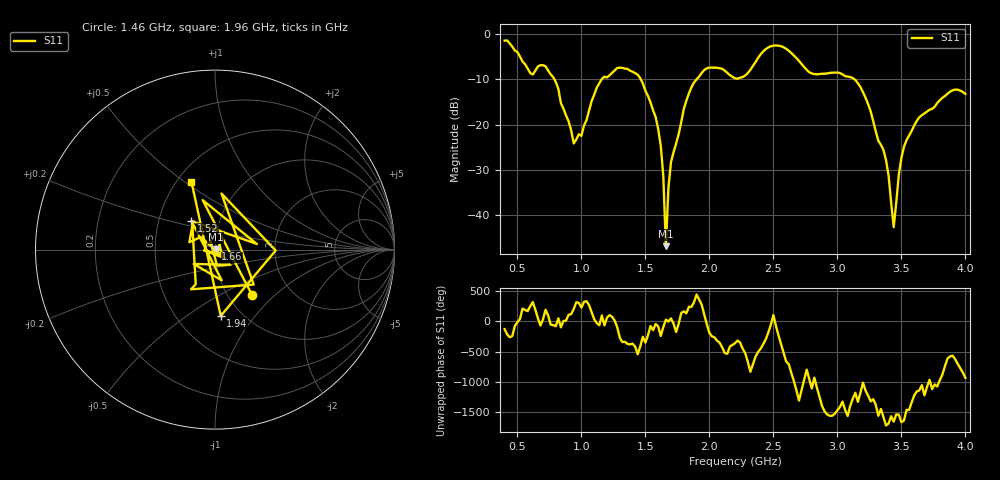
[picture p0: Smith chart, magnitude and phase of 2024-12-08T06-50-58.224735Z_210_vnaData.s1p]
!Created with skrf (http://scikit-rf.org).
# Hz S RI R 50.0
!freq ReS11 ImS11
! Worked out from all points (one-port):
!   181 points, 400 MHz to 4 GHz, reference 50 ohm
!   lowest |S11| = -46.8 dB at 1.66 GHz (marker M1), VSWR 1.01, Z = 50.4 + j0.215 ohm
!   |S11| at or under -10 dB: 788 MHz to 1.159 GHz (370.8 MHz wide, 38.1 % of centre); 1.464 GHz to 1.901 GHz (437.9 MHz wide, 26 % of centre); 3.132 GHz to end of sweep
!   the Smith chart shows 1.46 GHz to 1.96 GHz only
!   S11 on the Smith chart (normalised r, x): 1.46 GHz: 1.29, -0.72; 1.52 GHz: 0.73, +0.24; 1.66 GHz: 1.01, +0.00; 1.94 GHz: 0.80, -0.69; 1.96 GHz: 0.59, +0.53
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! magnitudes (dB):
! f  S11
! 400 MHz  -1.5
! 600 MHz  -8.6
! 720 MHz  -7.2
! 860 MHz  -16.5
! 940 MHz  -24.1
! 1.16 GHz  -9.9
! 1.3 GHz  -7.5
! 1.46 GHz  -9.8
! 1.52 GHz  -13.7
! 1.62 GHz  -24.7
! 1.64 GHz  -31.4
! 1.66 GHz  -46.8
! 1.68 GHz  -33.9
! 1.7 GHz  -28.3
! 1.76 GHz  -22.1
! 1.84 GHz  -13.1
! 1.94 GHz  -8.6
! 1.96 GHz  -8.0
! 2.2 GHz  -9.8
! 2.48 GHz  -2.8
! 2.66 GHz  -4.8
! 3.1 GHz  -9.5
! 3.36 GHz  -25.6
! 3.44 GHz  -42.6
! 3.5 GHz  -27.3
! 3.56 GHz  -22.4
! 3.88 GHz  -12.8
! 4 GHz  -13.2
